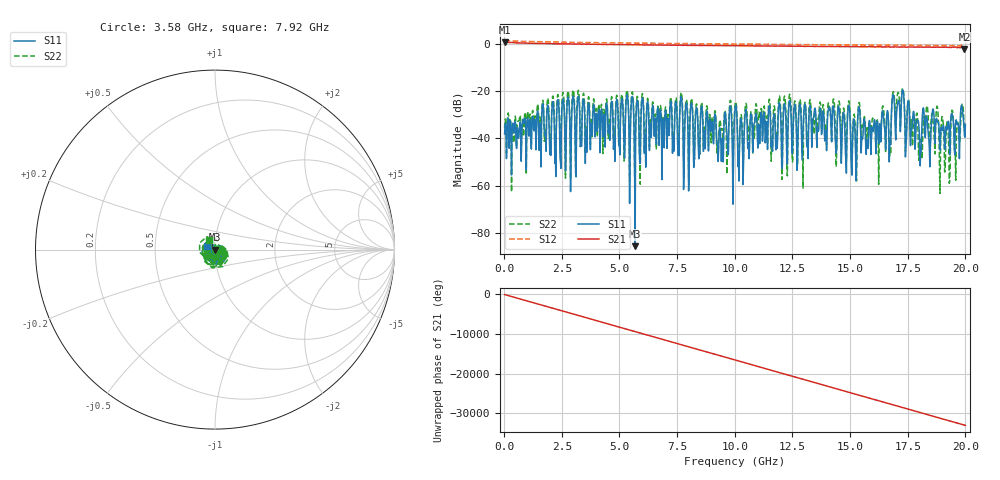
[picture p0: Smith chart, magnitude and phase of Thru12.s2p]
! File created by SignalIntegrity v1.1.10: Signal and Power Integrity Tools
! https://github.com/TeledyneLeCroy/SignalIntegrity
# MHz S MA R 50.0
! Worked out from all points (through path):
!   1000 points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, 20 MHz to 20 GHz, reference 50 ohm
!   highest |S21| = 0.74 dB at 20 MHz (marker M1); lowest = -2.1 dB at 19.96 GHz (marker M2)
!   lowest |S11| = -85.7 dB at 5.68 GHz (marker M3), VSWR 1.00, Z = 50 + j0.00367 ohm
!   |S11| at or under -10 dB: start of sweep to end of sweep
!   |S22| runs from -63.3 to -18.8 dB; largest |S21 - S12| = 0.092
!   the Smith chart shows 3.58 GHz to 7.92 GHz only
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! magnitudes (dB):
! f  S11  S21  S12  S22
! 20 MHz  -38.2  0.7  1.4  -35.6
! 3.36 GHz  -43.3  -0.2  0.5  -41.5
! 5.68 GHz  -85.7  -0.4  0.3  -49.8
! 6.68 GHz  -27.7  -0.5  0.2  -26.7
! 9.1 GHz  -34.5  -0.7  0.0  -32.7
! 9.34 GHz  -35.6  -0.7  0.0  -32.6
! 10.02 GHz  -26.6  -0.8  -0.1  -25.3
! 10.28 GHz  -31.5  -0.8  -0.1  -29.9
! 10.52 GHz  -30.3  -0.8  -0.1  -27.3
! 13.34 GHz  -43.8  -1.0  -0.3  -41.3
! 14.2 GHz  -41.5  -1.1  -0.4  -41.1
! 15.16 GHz  -31.8  -1.2  -0.5  -30.0
! 15.42 GHz  -28.5  -1.2  -0.5  -26.1
! 16.68 GHz  -39.0  -1.2  -0.5  -36.8
! 16.9 GHz  -22.9  -1.3  -0.6  -20.9
! 17.2 GHz  -32.3  -1.3  -0.6  -31.0
! 17.84 GHz  -39.5  -1.4  -0.7  -37.4
! 18.06 GHz  -46.0  -1.3  -0.6  -42.8
! 18.28 GHz  -33.4  -1.4  -0.7  -32.1
! 19.22 GHz  -35.5  -1.5  -0.8  -33.6
! 19.96 GHz  -38.9  -2.1  -1.4  -36.9
! 20 GHz  -34.1  -2.0  -1.3  -34.4
